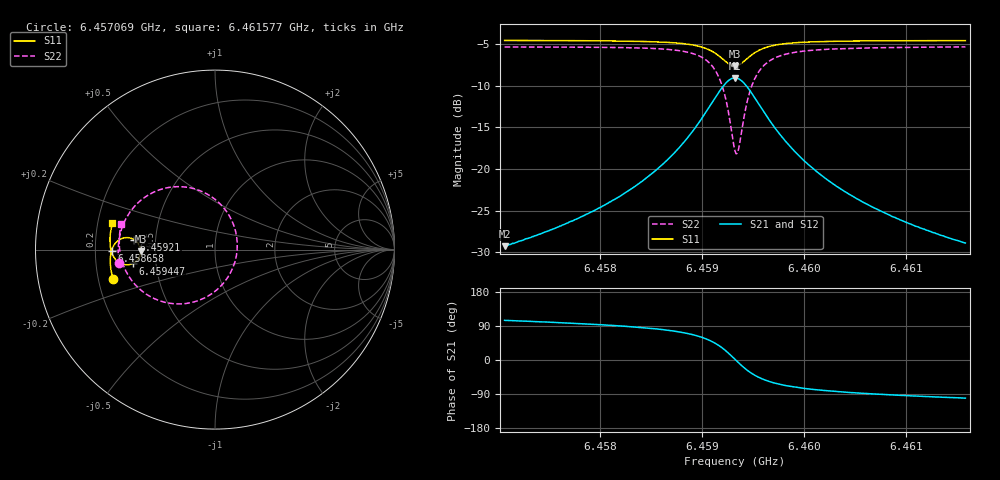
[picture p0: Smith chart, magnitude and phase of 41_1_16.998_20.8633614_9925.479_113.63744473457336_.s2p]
#  HZ  S  RI  R  50.00
! Rohde & Schwarz Vector Network Analyzer
! Rohde-Schwarz,ZNB20-2Port,1311601062101988,3.16
! Created: UTC 3/20/2024, 10:53:53 PM
! freq[Hz]  re:S11  im:S11  re:S21  im:S21  re:S12  im:S12  re:S22  im:S22
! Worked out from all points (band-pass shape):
!   401 points, 6.457069 GHz to 6.461577 GHz, reference 50 ohm
!   highest |S21| = -9.06 dB at 6.459323 GHz (marker M1); lowest = -29.3 dB at 6.457069 GHz (marker M2)
!   |S21| within 3 dB of the highest: 6.459097 GHz to 6.459547 GHz (450.4 kHz wide, 0.00697 % of centre)
!   lowest |S11| = -7.7 dB at 6.459323 GHz (marker M3), VSWR 2.41, Z = 20.7 - j0.483 ohm
!   |S11| at or under -10 dB: nowhere
!   |S22| runs from -18.2 to -5.3 dB; largest |S21 - S12| = 0.014
!   S11 on the Smith chart (normalised r, x): 6.457069 GHz: 0.26, -0.13; 6.458658 GHz: 0.27, -0.00; 6.45921 GHz: 0.38, +0.05; 6.459447 GHz: 0.37, -0.07; 6.461577 GHz: 0.26, +0.12
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6.4570687e9  -0.5679 -0.1665  -0.00872 0.0332  -0.00681 0.0331  -0.5349 -0.0758
6.4578238e9  -0.5812 -0.1001  -0.00522 0.0514  -0.00256 0.0508  -0.5388 0.014
6.4582183e9  -0.5836 -0.0602  0.000582 0.0699  0.00375 0.0685  -0.5305 0.077
6.4585789e9  -0.5794 -0.0168  0.0154 0.1008  0.0194 0.0978  -0.5028 0.1592
6.4586578e9  -0.5765 -0.00566  0.0219 0.1107  0.026 0.1073  -0.4903 0.1828
6.4588494e9  -0.5628 0.0252  0.0506 0.1426  0.0547 0.1375  -0.4364 0.2535
6.4589847e9  -0.5406 0.0494  0.0946 0.1712  0.0978 0.1645  -0.3552 0.3133
6.4591199e9  -0.4957 0.0667  0.1839 0.1875  0.1849 0.1802  -0.1919 0.3505
6.4592101e9  -0.4502 0.0556  0.2755 0.1545  0.2758 0.1488  -0.0225 0.2965
6.4592777e9  -0.4207 0.0224  0.3365 0.0804  0.3389 0.075  0.0936 0.1621
6.4593228e9  -0.414 -0.00965  0.3524 0.0107  0.3562 0.00372  0.1242 0.0318
6.4593566e9  -0.4182 -0.0338  0.3457 -0.0427  0.3498 -0.052  0.1107 -0.0695
6.4594017e9  -0.4345 -0.0603  0.3158 -0.1033  0.318 -0.1155  0.0499 -0.1838
6.4594467e9  -0.457 -0.0769  0.2725 -0.1444  0.2716 -0.1581  -0.038 -0.2585
6.4595369e9  -0.5013 -0.0838  0.1859 -0.1752  0.1796 -0.1868  -0.2105 -0.3025
6.4596045e9  -0.5259 -0.0764  0.1369 -0.1726  0.1286 -0.1815  -0.3049 -0.2862
6.4596834e9  -0.5459 -0.0631  0.0968 -0.16  0.088 -0.1662  -0.3797 -0.2504
6.4598412e9  -0.5677 -0.0353  0.0517 -0.1312  0.0437 -0.134  -0.4606 -0.1765
6.4600779e9  -0.5806 0.00013  0.0222 -0.0991  0.0163 -0.0996  -0.5083 -0.0931
6.460416e9  -0.5852 0.0409  0.00618 -0.0718  0.00191 -0.0711  -0.5294 -0.0133
6.460833e9  -0.5835 0.0832  -0.00162 -0.0528  -0.00446 -0.052  -0.5335 0.0548
6.4615768e9  -0.5717 0.1494  -0.0066 -0.0352  -0.00843 -0.0342  -0.522 0.1438
